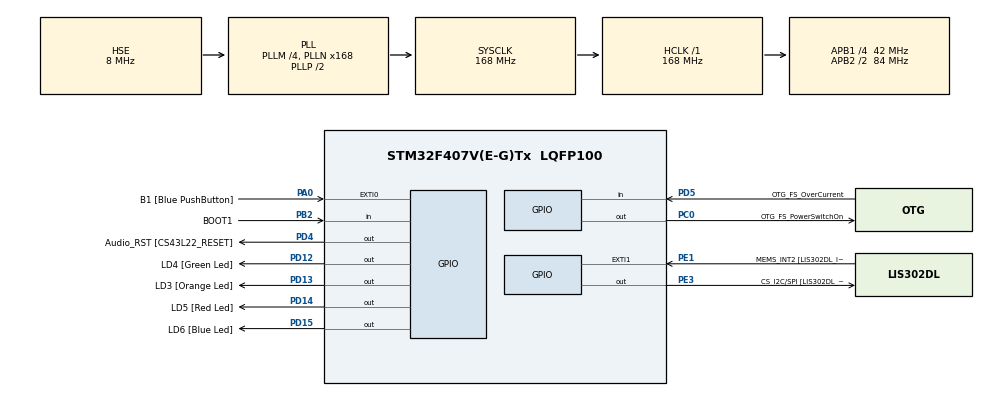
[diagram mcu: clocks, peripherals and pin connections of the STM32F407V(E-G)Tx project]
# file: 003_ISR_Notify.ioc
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Mcu.Family=STM32F4
Mcu.Name=STM32F407V(E-G)Tx
Mcu.Package=LQFP100
NVIC.EXTI0_IRQn=true\:6\:0\:true\:false\:true\:true\:true\:true
NVIC.PriorityGroup=NVIC_PRIORITYGROUP_4
NVIC.TIM6_DAC_IRQn=true\:15\:0\:false\:false\:true\:false\:true\:true
NVIC.TimeBase=TIM6_DAC_IRQn
NVIC.TimeBaseIP=TIM6
PA0-WKUP.GPIO_Label=B1 [Blue PushButton]
PA0-WKUP.GPIO_ModeDefaultEXTI=GPIO_MODE_IT_FALLING
PA0-WKUP.Signal=GPXTI0
PA10.GPIO_Label=OTG_FS_ID
PA10.GPIO_Mode=GPIO_MODE_AF_PP
PA10.GPIO_PuPd=GPIO_NOPULL
PA10.GPIO_Speed=GPIO_SPEED_FREQ_LOW
PA10.Signal=USB_OTG_FS_ID
PA11.GPIO_Label=OTG_FS_DM
PA11.GPIO_Mode=GPIO_MODE_AF_PP
PA11.GPIO_PuPd=GPIO_NOPULL
PA11.GPIO_Speed=GPIO_SPEED_FREQ_LOW
PA11.Signal=USB_OTG_FS_DM
PA12.GPIO_Label=OTG_FS_DP
PA12.GPIO_Mode=GPIO_MODE_AF_PP
PA12.GPIO_PuPd=GPIO_NOPULL
PA12.GPIO_Speed=GPIO_SPEED_FREQ_LOW
PA12.Signal=USB_OTG_FS_DP
PA13.GPIO_Label=SWDIO
PA13.Mode=Serial_Wire
PA13.Signal=SYS_JTMS-SWDIO
PA14.GPIO_Label=SWCLK
PA14.Mode=Serial_Wire
PA14.Signal=SYS_JTCK-SWCLK
PA4.GPIO_Label=I2S3_WS [CS43L22_LRCK]
PA4.GPIO_Mode=GPIO_MODE_AF_PP
PA4.GPIO_PuPd=GPIO_NOPULL
PA4.GPIO_Speed=GPIO_SPEED_FREQ_LOW
PA4.Signal=I2S3_WS
PA5.GPIO_Label=SPI1_SCK [LIS302DL_SCL/SPC]
PA5.GPIO_Mode=GPIO_MODE_AF_PP
PA5.GPIO_PuPd=GPIO_NOPULL
PA5.GPIO_Speed=GPIO_SPEED_FREQ_LOW
PA5.Signal=SPI1_SCK
PA6.GPIO_Label=SPI1_MISO [LIS302DL_SDO]
PA6.GPIO_Mode=GPIO_MODE_AF_PP
PA6.GPIO_PuPd=GPIO_NOPULL
PA6.GPIO_Speed=GPIO_SPEED_FREQ_LOW
PA6.Signal=SPI1_MISO
PA7.GPIO_Label=SPI1_MOSI [LIS302DL_SDA/SDI/SDO]
PA7.GPIO_Mode=GPIO_MODE_AF_PP
PA7.GPIO_PuPd=GPIO_NOPULL
PA7.GPIO_Speed=GPIO_SPEED_FREQ_LOW
PA7.Signal=SPI1_MOSI
PA9.GPIO_Label=VBUS_FS
PA9.GPIO_Mode=GPIO_MODE_INPUT
PA9.GPIO_PuPd=GPIO_NOPULL
PA9.Signal=USB_OTG_FS_VBUS
PB10.GPIO_Label=CLK_IN [MP45DT02_CLK]
PB10.GPIO_Mode=GPIO_MODE_AF_PP
PB10.GPIO_PuPd=GPIO_NOPULL
PB10.GPIO_Speed=GPIO_SPEED_FREQ_LOW
PB10.Signal=I2S2_CK
PB2.GPIO_Label=BOOT1
PB2.GPIO_Mode=GPIO_MODE_INPUT
PB2.GPIO_PuPd=GPIO_NOPULL
PB2.Signal=GPIO_Input
PB3.GPIO_Label=SWO
PB3.Signal=SYS_JTDO-SWO
PB6.GPIO_Label=Audio_SCL [CS43L22_SCL]
PB6.GPIO_Mode=GPIO_MODE_AF_OD
PB6.GPIO_PuPd=GPIO_NOPULL
PB6.GPIO_Speed=GPIO_SPEED_FREQ_LOW
PB6.Signal=I2C1_SCL
PB9.GPIO_Label=Audio_SDA [CS43L22_SDA]
PB9.GPIO_Mode=GPIO_MODE_AF_OD
PB9.GPIO_PuPd=GPIO_NOPULL
PB9.GPIO_Speed=GPIO_SPEED_FREQ_LOW
PB9.Signal=I2C1_SDA
PC0.GPIO_Label=OTG_FS_PowerSwitchOn
PC0.GPIO_PuPd=GPIO_NOPULL
PC0.GPIO_Speed=GPIO_SPEED_FREQ_LOW
PC0.PinState=GPIO_PIN_SET
PC0.Signal=GPIO_Output
PC10.GPIO_Label=I2S3_SCK [CS43L22_SCLK]
PC10.GPIO_Mode=GPIO_MODE_AF_PP
PC10.GPIO_PuPd=GPIO_NOPULL
PC10.GPIO_Speed=GPIO_SPEED_FREQ_LOW
PC10.Signal=I2S3_CK
PC12.GPIO_Label=I2S3_SD [CS43L22_SDIN]
PC12.GPIO_Mode=GPIO_MODE_AF_PP
PC12.GPIO_PuPd=GPIO_NOPULL
PC12.GPIO_Speed=GPIO_SPEED_FREQ_LOW
PC12.Signal=I2S3_SD
PC14-OSC32_IN.GPIO_Label=PC14-OSC32_IN
PC14-OSC32_IN.Signal=RCC_OSC32_IN
PC15-OSC32_OUT.GPIO_Label=PC15-OSC32_OUT
PC15-OSC32_OUT.Signal=RCC_OSC32_OUT
PC3.GPIO_Label=PDM_OUT [MP45DT02_DOUT]
PC3.GPIO_Mode=GPIO_MODE_AF_PP
PC3.GPIO_PuPd=GPIO_NOPULL
PC3.GPIO_Speed=GPIO_SPEED_FREQ_LOW
PC3.Signal=I2S2_SD
PC7.GPIO_Label=I2S3_MCK [CS43L22_MCLK]
PC7.GPIO_Mode=GPIO_MODE_AF_PP
PC7.GPIO_PuPd=GPIO_NOPULL
PC7.GPIO_Speed=GPIO_SPEED_FREQ_LOW
PC7.Signal=I2S3_MCK
PD12.GPIO_Label=LD4 [Green Led]
PD12.GPIO_PuPd=GPIO_NOPULL
PD12.GPIO_Speed=GPIO_SPEED_FREQ_LOW
PD12.Signal=GPIO_Output
PD13.GPIO_Label=LD3 [Orange Led]
PD13.GPIO_PuPd=GPIO_NOPULL
PD13.GPIO_Speed=GPIO_SPEED_FREQ_LOW
PD13.Signal=GPIO_Output
PD14.GPIO_Label=LD5 [Red Led]
PD14.GPIO_PuPd=GPIO_NOPULL
PD14.GPIO_Speed=GPIO_SPEED_FREQ_LOW
PD14.Signal=GPIO_Output
PD15.GPIO_Label=LD6 [Blue Led]
PD15.GPIO_PuPd=GPIO_NOPULL
PD15.GPIO_Speed=GPIO_SPEED_FREQ_LOW
PD15.Signal=GPIO_Output
PD4.GPIO_Label=Audio_RST [CS43L22_RESET]
PD4.GPIO_PuPd=GPIO_NOPULL
PD4.GPIO_Speed=GPIO_SPEED_FREQ_LOW
PD4.Signal=GPIO_Output
PD5.GPIO_Label=OTG_FS_OverCurrent
PD5.GPIO_Mode=GPIO_MODE_INPUT
PD5.GPIO_PuPd=GPIO_NOPULL
PD5.Signal=GPIO_Input
PE1.GPIO_Label=MEMS_INT2 [LIS302DL_INT2]
PE1.GPIO_ModeDefaultEXTI=GPIO_MODE_EVT_RISING
PE1.GPIO_PuPd=GPIO_NOPULL
PE1.Signal=GPXTI1
PE3.GPIO_Label=CS_I2C/SPI [LIS302DL_CS_I2C/SPI]
PE3.GPIO_PuPd=GPIO_NOPULL
PE3.GPIO_Speed=GPIO_SPEED_FREQ_LOW
PE3.Signal=GPIO_Output
PH0-OSC_IN.GPIO_Label=PH0-OSC_IN
PH0-OSC_IN.Mode=HSE-External-Oscillator
PH0-OSC_IN.Signal=RCC_OSC_IN
PH1-OSC_OUT.GPIO_Label=PH1-OSC_OUT
PH1-OSC_OUT.Mode=HSE-External-Oscillator
PH1-OSC_OUT.Signal=RCC_OSC_OUT
ProjectManager.HeapSize=0x200
ProjectManager.StackSize=0x400
ProjectManager.TargetToolchain=CMake
RCC.48MHZClocksFreq_Value=48000000
RCC.AHBFreq_Value=168000000
RCC.APB1CLKDivider=RCC_HCLK_DIV4
RCC.APB1Freq_Value=42000000
RCC.APB1TimFreq_Value=84000000
RCC.APB2CLKDivider=RCC_HCLK_DIV2
RCC.APB2Freq_Value=84000000
RCC.APB2TimFreq_Value=168000000
RCC.CortexFreq_Value=168000000
RCC.HCLKFreq_Value=168000000
RCC.HSE_VALUE=8000000
RCC.HSI_VALUE=16000000
RCC.LSE_VALUE=32768
RCC.PLLM=4
RCC.PLLN=168
RCC.PLLQ=7
RCC.PLLSourceVirtual=RCC_PLLSOURCE_HSE
RCC.SYSCLKFreq_VALUE=168000000
RCC.SYSCLKSource=RCC_SYSCLKSOURCE_PLLCLK
RCC.VCOOutputFreq_Value=336000000
VP_SYS_VS_tim6.Mode=TIM6
board=STM32F407G-DISC1

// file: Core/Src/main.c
/* USER CODE BEGIN Header */
/**
  ******************************************************************************
  * @file           : main.c
  * @brief          : Main program body
  ******************************************************************************
  * @attention
  *
  * Copyright (c) 2026 STMicroelectronics.
  * All rights reserved.
  *
  * This software is licensed under terms that can be found in the LICENSE file
  * in the root directory of this software component.
  * If no LICENSE file comes with this software, it is provided AS-IS.
  *
  ******************************************************************************
  */
/* USER CODE END Header */
#include "main.h"

/* USER CODE BEGIN Includes */
#include "FreeRTOS.h"
#include "task.h"
#include <stdio.h>
/* USER CODE END Includes */

void SystemClock_Config(void);
static void MX_GPIO_Init(void);
/* USER CODE BEGIN PFP */
static void toggle_led_task_handler(void* params);
extern void SEGGER_UART_init(U32);
/* USER CODE END PFP */

/* USER CODE BEGIN 0 */
typedef struct
{
  char name[20];
  uint16_t pin;
  TickType_t frequency;
} Led_t;

TaskHandle_t green_led;
TaskHandle_t orange_led;
TaskHandle_t red_led;

TaskHandle_t next_task_handle = NULL;
/* USER CODE END 0 */

int main(void)
{

  /* USER CODE BEGIN 1 */
  BaseType_t status = pdFALSE;
  /* USER CODE END 1 */

  /* MCU Configuration--------------------------------------------------------*/

  /* Reset of all peripherals, Initializes the Flash interface and the Systick. */
  HAL_Init();

  /* Configure the system clock */
  SystemClock_Config();

  /* Initialize all configured peripherals */
  MX_GPIO_Init();
  /* USER CODE BEGIN 2 */
  SEGGER_UART_init(250000);
  DWT->CTRL |= ( 1 << 0);
  SEGGER_SYSVIEW_Conf();

  static Led_t green_pin = {
    .name = "Toggle GREEN led",
    .pin = LD4_Pin,
    .frequency = 1000 / portTICK_PERIOD_MS
  };
  status = xTaskCreate(toggle_led_task_handler, "GREEN LED", 120, &green_pin, 2, &green_led);
  configASSERT( status == pdPASS );

  next_task_handle = green_led;

  static Led_t orange_pin = {
    .name = "Toggle ORANGE led",
    .pin = LD3_Pin,
    .frequency = 800 / portTICK_PERIOD_MS
  };
  status = xTaskCreate(toggle_led_task_handler, "ORANGE LED", 120, &orange_pin, 2, &orange_led);
  configASSERT( status == pdPASS );

  static Led_t red_pin = {
    .name = "Toggle RED led",
    .pin = LD5_Pin,
    .frequency = 400 / portTICK_PERIOD_MS
  };
  status = xTaskCreate(toggle_led_task_handler, "RED LED", 120, &red_pin, 2, &red_led);
  configASSERT( status == pdPASS );

  vTaskStartScheduler();

  /*
   * Code will never reach here!!
   */
  /* USER CODE END 2 */

  /* Infinite loop */
  while (1)
  {

  }
}

void SystemClock_Config(void)
{
  RCC_OscInitTypeDef RCC_OscInitStruct = {0};
  RCC_ClkInitTypeDef RCC_ClkInitStruct = {0};

  /** Configure the main internal regulator output voltage
  */
  __HAL_RCC_PWR_CLK_ENABLE();
  __HAL_PWR_VOLTAGESCALING_CONFIG(PWR_REGULATOR_VOLTAGE_SCALE1);

  /** Initializes the RCC Oscillators according to the specified parameters
  * in the RCC_OscInitTypeDef structure.
  */
  RCC_OscInitStruct.OscillatorType = RCC_OSCILLATORTYPE_HSE;
  RCC_OscInitStruct.HSEState = RCC_HSE_ON;
  RCC_OscInitStruct.PLL.PLLState = RCC_PLL_ON;
  RCC_OscInitStruct.PLL.PLLSource = RCC_PLLSOURCE_HSE;
  RCC_OscInitStruct.PLL.PLLM = 4;
  RCC_OscInitStruct.PLL.PLLN = 168;
  RCC_OscInitStruct.PLL.PLLP = RCC_PLLP_DIV2;
  RCC_OscInitStruct.PLL.PLLQ = 7;
  if (HAL_RCC_OscConfig(&RCC_OscInitStruct) != HAL_OK)
  {
    Error_Handler();
  }

  /** Initializes the CPU, AHB and APB buses clocks
  */
  RCC_ClkInitStruct.ClockType = RCC_CLOCKTYPE_HCLK|RCC_CLOCKTYPE_SYSCLK
                              |RCC_CLOCKTYPE_PCLK1|RCC_CLOCKTYPE_PCLK2;
  RCC_ClkInitStruct.SYSCLKSource = RCC_SYSCLKSOURCE_PLLCLK;
  RCC_ClkInitStruct.AHBCLKDivider = RCC_SYSCLK_DIV1;
  RCC_ClkInitStruct.APB1CLKDivider = RCC_HCLK_DIV4;
  RCC_ClkInitStruct.APB2CLKDivider = RCC_HCLK_DIV2;

  if (HAL_RCC_ClockConfig(&RCC_ClkInitStruct, FLASH_LATENCY_5) != HAL_OK)
  {
    Error_Handler();
  }
}

static void MX_GPIO_Init(void)
{
  GPIO_InitTypeDef GPIO_InitStruct = {0};

  /* GPIO Ports Clock Enable */
  __HAL_RCC_GPIOE_CLK_ENABLE();
  __HAL_RCC_GPIOC_CLK_ENABLE();
  __HAL_RCC_GPIOH_CLK_ENABLE();
  __HAL_RCC_GPIOA_CLK_ENABLE();
  __HAL_RCC_GPIOB_CLK_ENABLE();
  __HAL_RCC_GPIOD_CLK_ENABLE();

  /*Configure GPIO pin Output Level */
  HAL_GPIO_WritePin(CS_I2C_SPI_GPIO_Port, CS_I2C_SPI_Pin, GPIO_PIN_RESET);

  /*Configure GPIO pin Output Level */
  HAL_GPIO_WritePin(OTG_FS_PowerSwitchOn_GPIO_Port, OTG_FS_PowerSwitchOn_Pin, GPIO_PIN_SET);

  /*Configure GPIO pin Output Level */
  HAL_GPIO_WritePin(GPIOD, LD4_Pin|LD3_Pin|LD5_Pin|LD6_Pin
                          |Audio_RST_Pin, GPIO_PIN_RESET);

  /*Configure GPIO pin : CS_I2C_SPI_Pin */
  GPIO_InitStruct.Pin = CS_I2C_SPI_Pin;
  GPIO_InitStruct.Mode = GPIO_MODE_OUTPUT_PP;
  GPIO_InitStruct.Pull = GPIO_NOPULL;
  GPIO_InitStruct.Speed = GPIO_SPEED_FREQ_LOW;
  HAL_GPIO_Init(CS_I2C_SPI_GPIO_Port, &GPIO_InitStruct);

  /*Configure GPIO pin : OTG_FS_PowerSwitchOn_Pin */
  GPIO_InitStruct.Pin = OTG_FS_PowerSwitchOn_Pin;
  GPIO_InitStruct.Mode = GPIO_MODE_OUTPUT_PP;
  GPIO_InitStruct.Pull = GPIO_NOPULL;
  GPIO_InitStruct.Speed = GPIO_SPEED_FREQ_LOW;
  HAL_GPIO_Init(OTG_FS_PowerSwitchOn_GPIO_Port, &GPIO_InitStruct);

  /*Configure GPIO pin : PDM_OUT_Pin */
  GPIO_InitStruct.Pin = PDM_OUT_Pin;
  GPIO_InitStruct.Mode = GPIO_MODE_AF_PP;
  GPIO_InitStruct.Pull = GPIO_NOPULL;
  GPIO_InitStruct.Speed = GPIO_SPEED_FREQ_LOW;
  GPIO_InitStruct.Alternate = GPIO_AF5_SPI2;
  HAL_GPIO_Init(PDM_OUT_GPIO_Port, &GPIO_InitStruct);

  /*Configure GPIO pin : B1_Pin */
  GPIO_InitStruct.Pin = B1_Pin;
  GPIO_InitStruct.Mode = GPIO_MODE_IT_FALLING;
  GPIO_InitStruct.Pull = GPIO_NOPULL;
  HAL_GPIO_Init(B1_GPIO_Port, &GPIO_InitStruct);

  /*Configure GPIO pin : I2S3_WS_Pin */
  GPIO_InitStruct.Pin = I2S3_WS_Pin;
  GPIO_InitStruct.Mode = GPIO_MODE_AF_PP;
  GPIO_InitStruct.Pull = GPIO_NOPULL;
  GPIO_InitStruct.Speed = GPIO_SPEED_FREQ_LOW;
  GPIO_InitStruct.Alternate = GPIO_AF6_SPI3;
  HAL_GPIO_Init(I2S3_WS_GPIO_Port, &GPIO_InitStruct);

  /*Configure GPIO pins : SPI1_SCK_Pin SPI1_MISO_Pin SPI1_MOSI_Pin */
  GPIO_InitStruct.Pin = SPI1_SCK_Pin|SPI1_MISO_Pin|SPI1_MOSI_Pin;
  GPIO_InitStruct.Mode = GPIO_MODE_AF_PP;
  GPIO_InitStruct.Pull = GPIO_NOPULL;
  GPIO_InitStruct.Speed = GPIO_SPEED_FREQ_LOW;
  GPIO_InitStruct.Alternate = GPIO_AF5_SPI1;
  HAL_GPIO_Init(GPIOA, &GPIO_InitStruct);

  /*Configure GPIO pin : BOOT1_Pin */
  GPIO_InitStruct.Pin = BOOT1_Pin;
  GPIO_InitStruct.Mode = GPIO_MODE_INPUT;
  GPIO_InitStruct.Pull = GPIO_NOPULL;
  HAL_GPIO_Init(BOOT1_GPIO_Port, &GPIO_InitStruct);

  /*Configure GPIO pin : CLK_IN_Pin */
  GPIO_InitStruct.Pin = CLK_IN_Pin;
  GPIO_InitStruct.Mode = GPIO_MODE_AF_PP;
  GPIO_InitStruct.Pull = GPIO_NOPULL;
  GPIO_InitStruct.Speed = GPIO_SPEED_FREQ_LOW;
  GPIO_InitStruct.Alternate = GPIO_AF5_SPI2;
  HAL_GPIO_Init(CLK_IN_GPIO_Port, &GPIO_InitStruct);

  /*Configure GPIO pins : LD4_Pin LD3_Pin LD5_Pin LD6_Pin
                           Audio_RST_Pin */
  GPIO_InitStruct.Pin = LD4_Pin|LD3_Pin|LD5_Pin|LD6_Pin
                          |Audio_RST_Pin;
  GPIO_InitStruct.Mode = GPIO_MODE_OUTPUT_PP;
  GPIO_InitStruct.Pull = GPIO_NOPULL;
  GPIO_InitStruct.Speed = GPIO_SPEED_FREQ_LOW;
  HAL_GPIO_Init(GPIOD, &GPIO_InitStruct);

  /*Configure GPIO pins : I2S3_MCK_Pin I2S3_SCK_Pin I2S3_SD_Pin */
  GPIO_InitStruct.Pin = I2S3_MCK_Pin|I2S3_SCK_Pin|I2S3_SD_Pin;
  GPIO_InitStruct.Mode = GPIO_MODE_AF_PP;
  GPIO_InitStruct.Pull = GPIO_NOPULL;
  GPIO_InitStruct.Speed = GPIO_SPEED_FREQ_LOW;
  GPIO_InitStruct.Alternate = GPIO_AF6_SPI3;
  HAL_GPIO_Init(GPIOC, &GPIO_InitStruct);

  /*Configure GPIO pin : VBUS_FS_Pin */
  GPIO_InitStruct.Pin = VBUS_FS_Pin;
  GPIO_InitStruct.Mode = GPIO_MODE_INPUT;
  GPIO_InitStruct.Pull = GPIO_NOPULL;
  HAL_GPIO_Init(VBUS_FS_GPIO_Port, &GPIO_InitStruct);

  /*Configure GPIO pins : OTG_FS_ID_Pin OTG_FS_DM_Pin OTG_FS_DP_Pin */
  GPIO_InitStruct.Pin = OTG_FS_ID_Pin|OTG_FS_DM_Pin|OTG_FS_DP_Pin;
  GPIO_InitStruct.Mode = GPIO_MODE_AF_PP;
  GPIO_InitStruct.Pull = GPIO_NOPULL;
  GPIO_InitStruct.Speed = GPIO_SPEED_FREQ_LOW;
  GPIO_InitStruct.Alternate = GPIO_AF10_OTG_FS;
  HAL_GPIO_Init(GPIOA, &GPIO_InitStruct);

  /*Configure GPIO pin : OTG_FS_OverCurrent_Pin */
  GPIO_InitStruct.Pin = OTG_FS_OverCurrent_Pin;
  GPIO_InitStruct.Mode = GPIO_MODE_INPUT;
  GPIO_InitStruct.Pull = GPIO_NOPULL;
  HAL_GPIO_Init(OTG_FS_OverCurrent_GPIO_Port, &GPIO_InitStruct);

  /*Configure GPIO pins : Audio_SCL_Pin Audio_SDA_Pin */
  GPIO_InitStruct.Pin = Audio_SCL_Pin|Audio_SDA_Pin;
  GPIO_InitStruct.Mode = GPIO_MODE_AF_OD;
  GPIO_InitStruct.Pull = GPIO_NOPULL;
  GPIO_InitStruct.Speed = GPIO_SPEED_FREQ_LOW;
  GPIO_InitStruct.Alternate = GPIO_AF4_I2C1;
  HAL_GPIO_Init(GPIOB, &GPIO_InitStruct);

  /*Configure GPIO pin : MEMS_INT2_Pin */
  GPIO_InitStruct.Pin = MEMS_INT2_Pin;
  GPIO_InitStruct.Mode = GPIO_MODE_EVT_RISING;
  GPIO_InitStruct.Pull = GPIO_NOPULL;
  HAL_GPIO_Init(MEMS_INT2_GPIO_Port, &GPIO_InitStruct);

  /* EXTI interrupt init*/
  HAL_NVIC_SetPriority(EXTI0_IRQn, 6, 0);
  HAL_NVIC_EnableIRQ(EXTI0_IRQn);

}

/* USER CODE BEGIN 4 */
static void toggle_led_task_handler(void* params)
{
  Led_t *pin = params;
  BaseType_t status;

  while (1)
  {
    SEGGER_SYSVIEW_PrintfTarget(pin->name);
    HAL_GPIO_TogglePin(GPIOD, pin->pin);
    status = xTaskNotifyWait(0, 0, NULL, pin->frequency);
    if (status != pdTRUE) continue;

    portENTER_CRITICAL();
    switch (pin->pin)
    {
    case LD4_Pin:
      next_task_handle = orange_led;
      break;
    case LD3_Pin:
      next_task_handle = red_led;
      break;
    default:
      next_task_handle = NULL;
      break;
    }
    HAL_GPIO_WritePin(GPIOD, pin->pin, GPIO_PIN_SET);
    SEGGER_SYSVIEW_PrintfTarget("Deleted task %s", pin->name);
    portEXIT_CRITICAL();
    vTaskDelete(NULL);

  }
}

void HAL_GPIO_EXTI_Callback(uint16_t GPIO_Pin)
{
  if (GPIO_Pin == GPIO_PIN_0)
  {
    traceISR_ENTER();
    BaseType_t pxHighPriority;
    xTaskNotifyFromISR(next_task_handle, 0, eNoAction, &pxHighPriority);
    portYIELD_FROM_ISR(pxHighPriority);
    traceISR_EXIT();
  }
}
/* USER CODE END 4 */

void HAL_TIM_PeriodElapsedCallback(TIM_HandleTypeDef *htim)
{
  if (htim->Instance == TIM6)
  {
    HAL_IncTick();
  }
}

void Error_Handler(void)
{
  __disable_irq();
  while (1)
  {
  }
}
